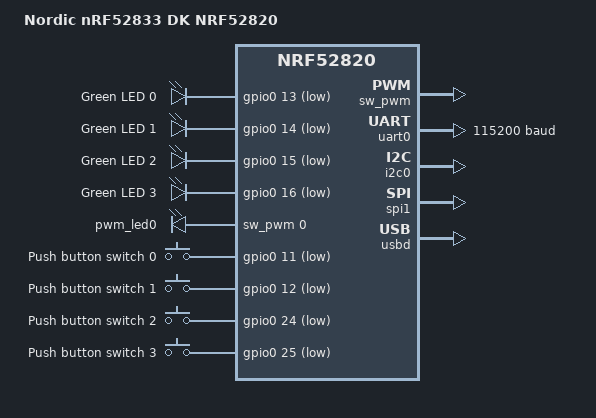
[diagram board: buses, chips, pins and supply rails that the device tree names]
/*
 * Copyright (c) 2020 Nordic Semiconductor ASA
 *
 * SPDX-License-Identifier: Apache-2.0
 */

/dts-v1/;
#include <nordic/nrf52820_qdaa.dtsi>
#include "nrf52833dk_nrf52820-pinctrl.dtsi"

/ {
	model = "Nordic nRF52833 DK NRF52820";
	compatible = "nordic,nrf52833-dk-nrf52820";

	chosen {
		zephyr,console = &uart0;
		zephyr,shell-uart = &uart0;
		zephyr,uart-mcumgr = &uart0;
		zephyr,bt-mon-uart = &uart0;
		zephyr,bt-c2h-uart = &uart0;
		zephyr,sram = &sram0;
		zephyr,flash = &flash0;
		zephyr,code-partition = &slot0_partition;
	};

	leds {
		compatible = "gpio-leds";
		led0: led_0 {
			gpios = <&gpio0 13 GPIO_ACTIVE_LOW>;
			label = "Green LED 0";
		};
		led1: led_1 {
			gpios = <&gpio0 14 GPIO_ACTIVE_LOW>;
			label = "Green LED 1";
		};
		led2: led_2 {
			gpios = <&gpio0 15 GPIO_ACTIVE_LOW>;
			label = "Green LED 2";
		};
		led3: led_3 {
			gpios = <&gpio0 16 GPIO_ACTIVE_LOW>;
			label = "Green LED 3";
		};
	};

	pwmleds {
		compatible = "pwm-leds";
		pwm_led0: pwm_led_0 {
			pwms = <&sw_pwm 0 PWM_MSEC(20) PWM_POLARITY_INVERTED>;
		};
	};

	buttons {
		compatible = "gpio-keys";
		button0: button_0 {
			gpios = <&gpio0 11 (GPIO_PULL_UP | GPIO_ACTIVE_LOW)>;
			label = "Push button switch 0";
		};
		button1: button_1 {
			gpios = <&gpio0 12 (GPIO_PULL_UP | GPIO_ACTIVE_LOW)>;
			label = "Push button switch 1";
		};
		button2: button_2 {
			gpios = <&gpio0 24 (GPIO_PULL_UP | GPIO_ACTIVE_LOW)>;
			label = "Push button switch 2";
		};
		button3: button_3 {
			gpios = <&gpio0 25 (GPIO_PULL_UP | GPIO_ACTIVE_LOW)>;
			label = "Push button switch 3";
		};
	};

	/* These aliases are provided for compatibility with samples */
	aliases {
		led0 = &led0;
		led1 = &led1;
		led2 = &led2;
		led3 = &led3;
		pwm-led0 = &pwm_led0;
		sw0 = &button0;
		sw1 = &button1;
		sw2 = &button2;
		sw3 = &button3;
		bootloader-led0 = &led0;
		mcuboot-button0 = &button0;
		mcuboot-led0 = &led0;
	};
};

&sw_pwm {
	status ="okay";
	channel-gpios = <&gpio0 13 PWM_POLARITY_INVERTED>;
	clock-prescaler = <8>;
};

&gpiote {
	status = "okay";
};

&gpio0 {
	status = "okay";
};

&uart0 {
	compatible = "nordic,nrf-uarte";
	status = "okay";
	current-speed = <115200>;
	pinctrl-0 = <&uart0_default>;
	pinctrl-1 = <&uart0_sleep>;
	pinctrl-names = "default", "sleep";
};

&i2c0 {
	compatible = "nordic,nrf-twi";
	status = "okay";
	pinctrl-0 = <&i2c0_default>;
	pinctrl-1 = <&i2c0_sleep>;
	pinctrl-names = "default", "sleep";
};

&i2c1 {
	compatible = "nordic,nrf-twi";
	/* Cannot be used together with spi1. */
	/* status = "okay"; */
};

&spi0 {
	compatible = "nordic,nrf-spi";
	/* Cannot be used together with i2c0. */
	/* status = "okay"; */
};

&spi1 {
	status = "okay";
	pinctrl-0 = <&spi1_default>;
	pinctrl-1 = <&spi1_sleep>;
	pinctrl-names = "default", "sleep";
};

&flash0 {

	partitions {
		compatible = "fixed-partitions";
		#address-cells = <1>;
		#size-cells = <1>;

		boot_partition: partition@0 {
			label = "mcuboot";
			reg = <0x00000000 0xC000>;
		};
		slot0_partition: partition@C000 {
			label = "image-0";
			reg = <0x0000C000 0x17000>;
		};
		slot1_partition: partition@23000 {
			label = "image-1";
			reg = <0x00023000 0x17000>;
		};
		storage_partition: partition@3a000 {
			label = "storage";
			reg = <0x0003a000 0x00006000>;
		};
	};
};

zephyr_udc0: &usbd {
	compatible = "nordic,nrf-usbd";
	status = "okay";
};
